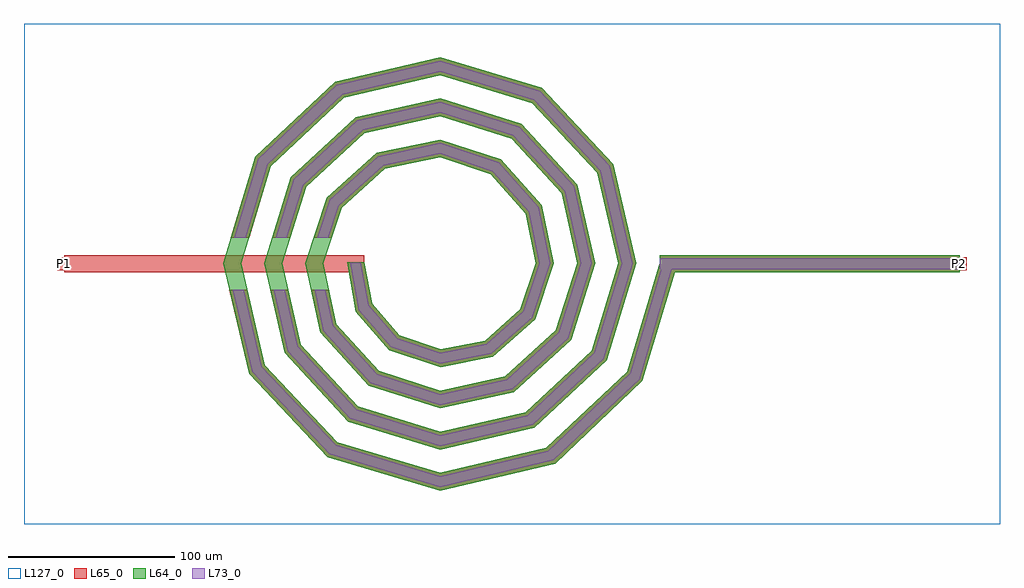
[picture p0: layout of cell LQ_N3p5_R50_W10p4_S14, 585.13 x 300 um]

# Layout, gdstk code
import gdstk
lib = gdstk.Library(unit=1e-6, precision=1e-09)
def R(c, l, rs):  # rectangles x0, y0, x1, y1
    for r in rs: c.add(gdstk.rectangle(r[:2], r[2:], *l))
def P(c, l, *ps):  # polygons
    for p in ps: c.add(gdstk.Polygon(p, *l))
L64_0 = (64, 0)
L65_0 = (65, 0)
L73_0 = (73, 0)
L127_0 = (127, 0)

lq_n3p5_r50_w10p4_s14 = lib.new_cell('LQ_N3p5_R50_W10p4_S14')
R(lq_n3p5_r50_w10p4_s14, L64_0, [(131.756,-5.2,311.756,5.2)])
P(lq_n3p5_r50_w10p4_s14, L64_0, [(-40.733,-23.969),(-24.331,-42.897),(0.364,-51.372),(27.018,-46.094),(48.22,-27.448),(57.54,0.328),(51.453,30.073),(30.56,53.546),(0.299,63.709),(-33.134,56.809),(-58.876,33.666),(-69.878,0.274),(-62.163,-36.198),(-36.77,-64.208),(0.254,-76.047),(39.266,-67.516),(69.541,-39.871),(82.216,0.236),(72.867,42.336),(42.97,74.876),(0.22,88.386),(-45.408,78.218),(-80.212,46.067),(-94.555,0.207),(-83.567,-48.481),(-49.162,-85.549),(0.195,-100.725),(51.556,-88.916),(90.886,-52.257),(106.895,0.184),(94.265,54.632),(55.35,96.225),(0.174,113.065),(-57.709,99.612),(-101.563,58.443),(-119.235,0.166),(-104.96,-60.787),(-61.535,-106.903),(0.158,-125.405),(63.865,-110.307),(112.242,-64.626),(131.973,1.487),(141.939,-1.487),(121.41,-70.273),(68.978,-119.783),(0.158,-136.168),(-67.194,-116.063),(-114.444,-65.886),(-129.997,0.166),(-110.715,64.116),(-62.793,109.104),(0.174,123.827),(61.039,105.367),(103.765,59.7),(117.656,0.184),(100.019,-57.962),(56.606,-98.426),(0.195,-111.486),(-54.887,-94.669),(-93.089,-53.511),(-105.316,0.207),(-89.319,51.812),(-50.414,87.751),(0.22,99.145),(48.739,83.968),(82.415,47.316),(92.974,0.236),(78.616,-45.668),(44.216,-77.079),(0.254,-86.804),(-42.598,-73.263),(-71.745,-41.114),(-80.633,0.274),(-67.907,39.532),(-38.008,66.412),(0.299,74.461),(36.469,62.55),(61.081,34.898),(68.29,0.328),(57.189,-33.41),(31.784,-55.753),(0.364,-62.118),(-30.357,-51.825),(-50.428,-28.662),(-55.683,0.97),(-45.466,0.97)])
R(lq_n3p5_r50_w10p4_s14, L65_0, [(-225.375,-5.2,-45.375,5.2), (131.756,-5.2,311.756,5.2), (-229.375,-4,-221.375,4), (307.756,-4,315.756,4)])
P(lq_n3p5_r50_w10p4_s14, L65_0, [(-104.96,-60.787),(-61.535,-106.903),(0.158,-125.405),(63.865,-110.307),(112.242,-64.626),(131.973,1.487),(141.939,-1.487),(121.41,-70.273),(68.978,-119.784),(0.158,-136.168),(-67.194,-116.063),(-114.444,-65.886),(-126.285,-15.6),(-115.6,-15.6)],
  [(-83.567,-48.481),(-49.162,-85.549),(0.195,-100.725),(51.556,-88.916),(90.886,-52.257),(106.895,0.184),(94.265,54.632),(55.35,96.225),(0.174,113.065),(-57.709,99.612),(-101.564,58.443),(-114.481,15.6),(-125.344,15.6),(-110.715,64.116),(-62.793,109.104),(0.174,123.827),(61.039,105.367),(103.765,59.7),(117.657,0.184),(100.019,-57.962),(56.606,-98.427),(0.195,-111.486),(-54.887,-94.669),(-93.089,-53.511),(-101.718,-15.6),(-91.052,-15.6)],
  [(-62.163,-36.198),(-36.77,-64.208),(0.254,-76.047),(39.266,-67.516),(69.541,-39.871),(82.216,0.236),(72.867,42.336),(42.97,74.876),(0.22,88.386),(-45.408,78.218),(-80.212,46.067),(-89.656,15.6),(-100.544,15.6),(-89.319,51.812),(-50.414,87.751),(0.22,99.145),(48.739,83.968),(82.415,47.316),(92.974,0.236),(78.616,-45.668),(44.216,-77.079),(0.254,-86.804),(-42.599,-73.263),(-71.745,-41.114),(-77.224,-15.6),(-66.587,-15.6)],
  [(-24.331,-42.897),(0.364,-51.372),(27.018,-46.094),(48.22,-27.448),(57.54,0.328),(51.453,30.073),(30.56,53.547),(0.299,63.709),(-33.134,56.809),(-58.876,33.666),(-64.732,15.6),(-75.665,15.6),(-67.907,39.532),(-38.008,66.412),(0.299,74.461),(36.469,62.55),(61.081,34.898),(68.29,0.328),(57.19,-33.41),(31.784,-55.753),(0.364,-62.118),(-30.357,-51.825),(-50.428,-28.662),(-55.684,0.97),(-45.466,0.97),(-40.733,-23.969)])
R(lq_n3p5_r50_w10p4_s14, L73_0, [(131.756,-3.2,311.756,3.2)])
P(lq_n3p5_r50_w10p4_s14, L73_0, [(-106.784,-61.767),(-62.623,-108.664),(0.097,-127.474),(64.848,-112.129),(114.005,-65.712),(133.89,0.915),(140.023,0.915),(119.647,-69.187),(67.994,-117.961),(0.097,-134.098),(-66.106,-114.302),(-112.62,-64.905),(-124.23,-15.6),(-117.655,-15.6)],
  [(-85.398,-49.449),(-50.263,-87.303),(0.12,-102.795),(52.527,-90.745),(92.643,-53.354),(108.965,0.113),(96.092,55.607),(56.444,97.983),(0.107,115.135),(-58.687,101.438),(-103.323,59.534),(-116.57,15.6),(-123.255,15.6),(-108.955,63.025),(-61.816,107.279),(0.107,121.757),(59.945,103.609),(101.938,58.726),(115.587,0.113),(98.262,-56.865),(55.635,-96.598),(0.12,-109.417),(-53.786,-92.915),(-91.258,-52.544),(-99.667,-15.6),(-93.103,-15.6)],
  [(-64.006,-37.144),(-37.891,-65.949),(0.156,-78.116),(40.218,-69.355),(71.286,-40.986),(84.285,0.145),(74.703,43.294),(44.079,76.625),(0.136,90.455),(-46.371,80.051),(-81.963,47.172),(-91.75,15.6),(-98.45,15.6),(-87.568,50.707),(-49.452,85.918),(0.136,97.076),(47.63,82.22),(80.579,46.358),(90.906,0.145),(76.871,-44.553),(43.264,-75.24),(0.156,-84.735),(-41.478,-71.521),(-69.902,-40.168),(-75.178,-15.6),(-68.632,-15.6)],
  [(-25.49,-44.614),(0.224,-53.438),(27.934,-47.952),(49.945,-28.595),(59.607,0.202),(53.305,31.001),(31.696,55.278),(0.184,65.777),(-34.071,58.656),(-60.613,34.794),(-66.835,15.6),(-73.562,15.6),(-66.171,38.404),(-37.071,64.565),(0.184,72.394),(35.332,60.819),(59.23,33.971),(66.223,0.202),(55.465,-32.263),(30.867,-53.895),(0.224,-60.051),(-29.198,-50.108),(-48.563,-27.76),(-53.719,0.597),(-47.431,0.597),(-42.597,-24.872)])
R(lq_n3p5_r50_w10p4_s14, L127_0, [(-249.375,-156.168,335.756,143.827)])
lq_n3p5_r50_w10p4_s14.add(gdstk.Label('P2', (311.756,0), layer=65, texttype=0))
lq_n3p5_r50_w10p4_s14.add(gdstk.Label('P1', (-225.375,0), layer=65, texttype=0))
lq_n3p5_r50_w10p4_s14.add(gdstk.Label('P2', (315.756,0), layer=145, texttype=0))
lq_n3p5_r50_w10p4_s14.add(gdstk.Label('P1', (-229.375,0), layer=145, texttype=0))

lib.write_gds('LQ_N3p5_R50_W10p4_S14.gds')
